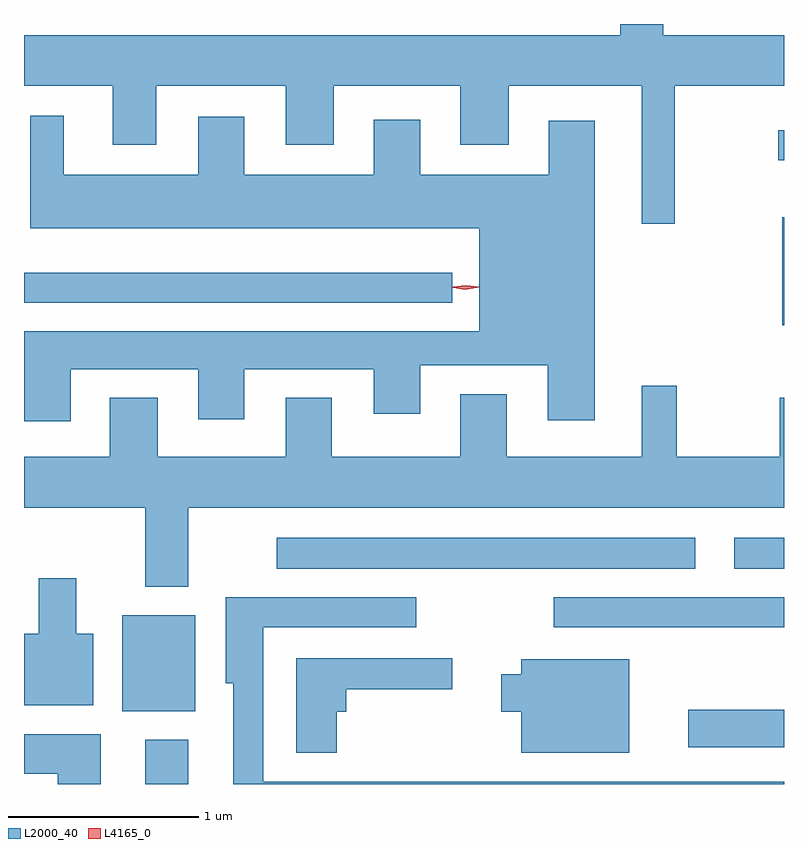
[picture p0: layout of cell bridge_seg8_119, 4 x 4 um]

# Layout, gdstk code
import gdstk
lib = gdstk.Library(unit=1e-6, precision=1e-09)
def R(c, l, rs):  # rectangles x0, y0, x1, y1
    for r in rs: c.add(gdstk.rectangle(r[:2], r[2:], *l))
def P(c, l, *ps):  # polygons
    for p in ps: c.add(gdstk.Polygon(p, *l))
L2000_40 = (2000, 40)
L4165_0 = (4165, 0)

bridge_seg8_119 = lib.new_cell('bridge_seg8_119')
R(bridge_seg8_119, L2000_40, [(1860.261,1812.762,1860.489,1812.994), (1863.121,1812.956,1863.624,1813.154), (1860.141,1813.146,1860.524,1813.649), (1862.413,1813.586,1863.624,1813.744), (1860.953,1813.896,1863.158,1814.059), (1863.363,1813.896,1863.624,1814.059), (1863.616,1815.176,1863.624,1815.744), (1859.624,1815.296,1861.878,1815.454), (1863.593,1816.046,1863.624,1816.204)])
P(bridge_seg8_119, L2000_40, [(1863.049,1816.436),(1863.624,1816.436),(1863.624,1816.704),(1862.989,1816.704),(1862.989,1816.762),(1862.761,1816.762),(1862.761,1816.704),(1859.624,1816.704),(1859.624,1816.436),(1860.091,1816.436),(1860.091,1816.126),(1860.319,1816.126),(1860.319,1816.436),(1861.001,1816.436),(1861.001,1816.126),(1861.254,1816.126),(1861.254,1816.436),(1861.921,1816.436),(1861.921,1816.126),(1862.174,1816.126),(1862.174,1816.436),(1862.876,1816.436),(1862.876,1815.711),(1863.049,1815.711)],
  [(1859.869,1814.946),(1860.541,1814.946),(1860.541,1814.681),(1860.784,1814.681),(1860.784,1814.946),(1861.466,1814.946),(1861.466,1814.711),(1861.709,1814.711),(1861.709,1814.966),(1862.381,1814.966),(1862.381,1814.676),(1862.629,1814.676),(1862.629,1816.254),(1862.386,1816.254),(1862.386,1815.969),(1861.709,1815.969),(1861.709,1816.259),(1861.466,1816.259),(1861.466,1815.969),(1860.784,1815.969),(1860.784,1816.274),(1860.541,1816.274),(1860.541,1815.969),(1859.834,1815.969),(1859.834,1816.279),(1859.656,1816.279),(1859.656,1815.686),(1862.021,1815.686),(1862.021,1815.144),(1859.626,1815.144),(1859.626,1814.671),(1859.869,1814.671)],
  [(1860.489,1814.216),(1863.624,1814.216),(1863.624,1814.794),(1863.601,1814.794),(1863.601,1814.484),(1863.059,1814.484),(1863.059,1814.859),(1862.876,1814.859),(1862.876,1814.484),(1862.164,1814.484),(1862.164,1814.814),(1861.921,1814.814),(1861.921,1814.484),(1861.244,1814.484),(1861.244,1814.794),(1861.001,1814.794),(1861.001,1814.484),(1860.329,1814.484),(1860.329,1814.794),(1860.076,1814.794),(1860.076,1814.484),(1859.624,1814.484),(1859.624,1814.216),(1860.261,1814.216),(1860.261,1813.801),(1860.489,1813.801)],
  [(1859.989,1813.554),(1859.899,1813.554),(1859.899,1813.844),(1859.701,1813.844),(1859.701,1813.554),(1859.624,1813.554),(1859.624,1813.176),(1859.989,1813.176)],
  [(1863.624,1812.774),(1860.884,1812.774),(1860.884,1813.586),(1861.688,1813.586),(1861.688,1813.744),(1860.686,1813.744),(1860.686,1813.291),(1860.726,1813.291),(1860.726,1812.762),(1863.624,1812.762)],
  [(1861.269,1813.141),(1861.319,1813.141),(1861.319,1813.261),(1861.878,1813.261),(1861.878,1813.424),(1861.056,1813.424),(1861.056,1812.926),(1861.269,1812.926)],
  [(1862.809,1813.419),(1862.241,1813.419),(1862.241,1813.339),(1862.136,1813.339),(1862.136,1813.141),(1862.241,1813.141),(1862.241,1812.926),(1862.809,1812.926)],
  [(1860.029,1813.024),(1859.624,1813.024),(1859.624,1812.816),(1859.801,1812.816),(1859.801,1812.762),(1860.029,1812.762)])
P(bridge_seg8_119, L4165_0, [(1861.945,1815.364),(1861.884,1815.373),(1861.883,1815.374),(1861.884,1815.374),(1861.945,1815.384),(1862.007,1815.374),(1862.007,1815.374),(1862.007,1815.373)],
  [(1861.948,1815.367),(1861.88,1815.377),(1861.879,1815.378),(1861.88,1815.378),(1861.949,1815.387),(1862.017,1815.378),(1862.018,1815.377),(1862.017,1815.377)])

lib.write_gds('bridge_seg8_119.gds')
